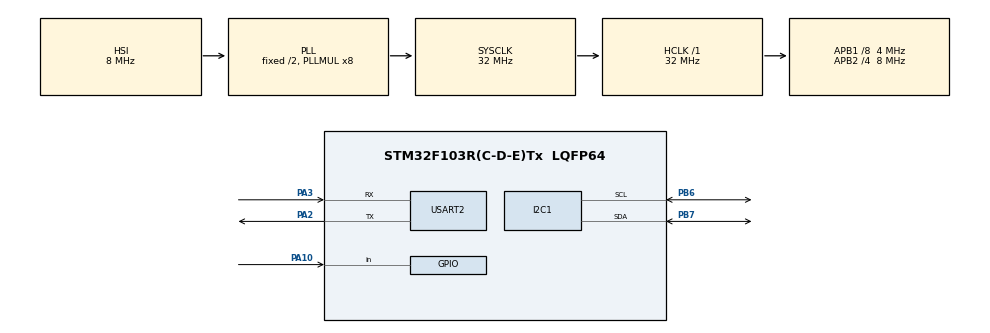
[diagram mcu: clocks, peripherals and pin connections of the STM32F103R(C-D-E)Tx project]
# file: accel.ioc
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Dma.Request0=USART2_TX
Dma.USART2_TX.0.Direction=DMA_MEMORY_TO_PERIPH
Dma.USART2_TX.0.Instance=DMA1_Channel7
Dma.USART2_TX.0.MemDataAlignment=DMA_MDATAALIGN_BYTE
Dma.USART2_TX.0.MemInc=DMA_MINC_ENABLE
Dma.USART2_TX.0.Mode=DMA_NORMAL
Dma.USART2_TX.0.PeriphDataAlignment=DMA_PDATAALIGN_BYTE
Dma.USART2_TX.0.PeriphInc=DMA_PINC_DISABLE
Dma.USART2_TX.0.Priority=DMA_PRIORITY_LOW
Mcu.Family=STM32F1
Mcu.Name=STM32F103R(C-D-E)Tx
Mcu.Package=LQFP64
NVIC.DMA1_Channel7_IRQn=true\:0\:0\:false\:false\:true
NVIC.I2C1_ER_IRQn=true\:0\:0\:false\:false\:true
NVIC.I2C1_EV_IRQn=true\:0\:0\:false\:false\:true
NVIC.PriorityGroup=NVIC_PRIORITYGROUP_4
NVIC.TIM1_UP_IRQn=true\:0\:0\:false\:false\:true
NVIC.USART2_IRQn=true\:0\:0\:false\:false\:true
PA10.Signal=GPIO_Input
PA13.Mode=Trace_Asynchronous_SW
PA13.Signal=SYS_JTMS-SWDIO
PA14.Mode=Trace_Asynchronous_SW
PA14.Signal=SYS_JTCK-SWCLK
PA2.Mode=Asynchronous
PA2.Signal=USART2_TX
PA3.Mode=Asynchronous
PA3.Signal=USART2_RX
PB3.Mode=Trace_Asynchronous_SW
PB3.Signal=SYS_JTDO-TRACESWO
PB6.Mode=I2C
PB6.Signal=I2C1_SCL
PB7.Mode=I2C
PB7.Signal=I2C1_SDA
ProjectManager.HeapSize=0x200
ProjectManager.StackSize=0x400
ProjectManager.TargetToolchain=MDK-ARM V5
RCC.AHBFreq_Value=32000000
RCC.APB1CLKDivider=RCC_HCLK_DIV8
RCC.APB1Freq_Value=4000000
RCC.APB1TimFreq_Value=8000000
RCC.APB2CLKDivider=RCC_HCLK_DIV4
RCC.APB2Freq_Value=8000000
RCC.APB2TimFreq_Value=16000000
RCC.HCLKFreq_Value=32000000
RCC.PLLMUL=RCC_PLL_MUL8
RCC.SYSCLKFreq_VALUE=32000000
RCC.SYSCLKSource=RCC_SYSCLKSOURCE_PLLCLK
RCC.USBFreq_Value=32000000
TIM1.Period=4000
TIM1.Prescaler=100
USART2.VirtualMode=VM_ASYNC
VP_TIM1_VS_ClockSourceINT.Mode=Internal
board=accel

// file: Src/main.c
/**
  ******************************************************************************
  * File Name          : main.c
  * Description        : Main program body
  ******************************************************************************
  ** This notice applies to any and all portions of this file
  * that are not between comment pairs USER CODE BEGIN and
  * USER CODE END. Other portions of this file, whether
  * inserted by the user or by software development tools
  * are owned by their respective copyright owners.
  *
  * COPYRIGHT(c) 2019 STMicroelectronics
  *
  * Redistribution and use in source and binary forms, with or without modification,
  * are permitted provided that the following conditions are met:
  *   1. Redistributions of source code must retain the above copyright notice,
  *      this list of conditions and the following disclaimer.
  *   2. Redistributions in binary form must reproduce the above copyright notice,
  *      this list of conditions and the following disclaimer in the documentation
  *      and/or other materials provided with the distribution.
  *   3. Neither the name of STMicroelectronics nor the names of its contributors
  *      may be used to endorse or promote products derived from this software
  *      without specific prior written permission.
  *
  * THIS SOFTWARE IS PROVIDED BY THE COPYRIGHT HOLDERS AND CONTRIBUTORS "AS IS"
  * AND ANY EXPRESS OR IMPLIED WARRANTIES, INCLUDING, BUT NOT LIMITED TO, THE
  * IMPLIED WARRANTIES OF MERCHANTABILITY AND FITNESS FOR A PARTICULAR PURPOSE ARE
  * DISCLAIMED. IN NO EVENT SHALL THE COPYRIGHT HOLDER OR CONTRIBUTORS BE LIABLE
  * FOR ANY DIRECT, INDIRECT, INCIDENTAL, SPECIAL, EXEMPLARY, OR CONSEQUENTIAL
  * DAMAGES (INCLUDING, BUT NOT LIMITED TO, PROCUREMENT OF SUBSTITUTE GOODS OR
  * SERVICES; LOSS OF USE, DATA, OR PROFITS; OR BUSINESS INTERRUPTION) HOWEVER
  * CAUSED AND ON ANY THEORY OF LIABILITY, WHETHER IN CONTRACT, STRICT LIABILITY,
  * OR TORT (INCLUDING NEGLIGENCE OR OTHERWISE) ARISING IN ANY WAY OUT OF THE USE
  * OF THIS SOFTWARE, EVEN IF ADVISED OF THE POSSIBILITY OF SUCH DAMAGE.
  *
  ******************************************************************************
  */
#include "main.h"
#include "stm32f1xx_hal.h"
#include "dma.h"
#include "i2c.h"
#include "tim.h"
#include "usart.h"
#include "gpio.h"

/* USER CODE BEGIN Includes */
#include <stdio.h>
#include <math.h>
#include <string.h>
#include "mediana.h"
/* USER CODE END Includes */

/* USER CODE BEGIN PV */
/* Private variables ---------------------------------------------------------*/
uint8_t buf[60];
uint8_t flag_elapsed=0;
#pragma pack(1)
struct Axis {
    uint8_t  state; //int source 0x30
    uint8_t  format;
    int16_t x;
    int16_t y;
    int16_t z;
};

/* USER CODE END PV */

void SystemClock_Config(void);

/* USER CODE BEGIN PFP */
/* Private function prototypes -----------------------------------------------*/

/* USER CODE END PFP */

/* USER CODE BEGIN 0 */
#define ITM_Port8(n)    (*((volatile unsigned char *)(0xE0000000+4*n)))
#define ITM_Port16(n)   (*((volatile unsigned short*)(0xE0000000+4*n)))
#define ITM_Port32(n)   (*((volatile unsigned long *)(0xE0000000+4*n)))

#define DEMCR           (*((volatile unsigned long *)(0xE000EDFC)))
#define TRCENA          0x01000000

struct __FILE { int handle; /* Add whatever you need here */ };
FILE __stdout;
FILE __stdin;

int fputc(int ch, FILE *f) {
  if (DEMCR & TRCENA) {
    while (ITM_Port32(0) == 0);
    ITM_Port8(0) = ch;
  }
  return(ch);
}

/* USER CODE END 0 */

int main(void)
{

  /* USER CODE BEGIN 1 */

  struct Axis axis;
  HAL_StatusTypeDef result;
  double angle;
  char text[80]="test string from usart";
  int16_t data_filtered;
  float FK=0.07;
  int16_t data_kalman_x,data_kalman_y,data_kalman_z;

  /* USER CODE END 1 */

  /* MCU Configuration----------------------------------------------------------*/

  /* Reset of all peripherals, Initializes the Flash interface and the Systick. */
  HAL_Init();

  /* Configure the system clock */
  SystemClock_Config();

  /* Initialize all configured peripherals */
  MX_GPIO_Init();
  MX_DMA_Init();
  MX_I2C1_Init();
  MX_TIM1_Init();
  MX_USART2_UART_Init();

  /* USER CODE BEGIN 2 */
    printf("Hello from stm32 printf!\r\n");
    HAL_UART_Transmit_DMA(&huart2,(uint8_t*) &text, strlen(text));

  /* USER CODE END 2 */

  /* Infinite loop */
  /* USER CODE BEGIN WHILE */
   buf[0]= ADXL313_BW_200;
   buf[1]=0x08; //set up bit MEASURE MODE
   result= HAL_I2C_Mem_Write(&hi2c1,0xA7,0x2c,I2C_MEMADD_SIZE_8BIT,buf,2,10000);

  buf[0]=0x09;      //set up 1g range   and full res
  result= HAL_I2C_Mem_Write(&hi2c1,0xA7,0x31,I2C_MEMADD_SIZE_8BIT,buf,1,10000);

  buf[0]=0x02; //activity threshhold 24
  buf[1]=0x20; //inactivity thresh     25
  buf[2]=0x5; //inativity time;  26
  buf[3]=0xf0; //ac coupled operation om all axes      27
  result= HAL_I2C_Mem_Write(&hi2c1,0xA7,0x24,I2C_MEMADD_SIZE_8BIT,buf,4,10000);

  buf[0]=0x18;
  result= HAL_I2C_Mem_Write(&hi2c1,0xA7,0x2e,I2C_MEMADD_SIZE_8BIT,buf,1,10000);

  result= HAL_I2C_Mem_Read(&hi2c1, 0xA6,(uint16_t)0x00,I2C_MEMADD_SIZE_8BIT, buf, 57,10);
  //  HAL_StatusTypeDef result=HAL_I2C_Master_Transmit(&hi2c1,0xA6,0x00,10,10000);
   printf("result %d \r \n ",result);
   for (int i=0; i<58;i++)   {
   printf("Register %02x = %02x \r\n",i,buf[i]);
   }

       result= HAL_I2C_Mem_Read(&hi2c1, 0xA6,(uint16_t)0x30,I2C_MEMADD_SIZE_8BIT, buf, 6,1000);
      flag_elapsed=0;
      printf("x:%d, y:%d, z:%d \r\n",axis.x,axis.y,axis.z);
      sprintf((char *)&text,"$ %d %d %d;",axis.x,axis.y,axis.z);
      HAL_UART_Transmit_DMA(&huart2,(uint8_t*)&text,strlen(text));
     HAL_TIM_Base_Start_IT(&htim1);
  while (1)
  {
  /* USER CODE END WHILE */

  /* USER CODE BEGIN 3 */
  if (flag_elapsed==1) {
    //  HAL_Delay(1);
      result= HAL_I2C_Mem_Read(&hi2c1, 0xA6,(uint16_t)0x30,I2C_MEMADD_SIZE_8BIT, (uint8_t*)&axis, 8,1);
      flag_elapsed=0;
      angle= atan(axis.x/(sqrt(pow(axis.y,2)+pow(axis.z,2)) ) )*57,296;
      printf("0x30:%02x,       x:%d, y:%d, z:%d,  angle X=%.02f  \r\n", (axis.state&0x18), axis.x,axis.y,axis.z,angle);
     // sprintf((char *)&text,"$%d %d %d;",axis.x,axis.y,axis.z);
      data_filtered=median_filter(axis.x);
      data_kalman_x=(1-FK)*data_kalman_x+FK*axis.x;
      data_kalman_y=(1-FK)*data_kalman_y+FK*axis.y;
      data_kalman_z=(1-FK)*data_kalman_z+FK*axis.z;

     // sprintf((char *)&text,"$%d %d %d;",axis.x,data_filtered,data_kalman);
      sprintf((char *)&text,"$%d %d %d;",data_kalman_x,data_kalman_y,data_kalman_z);
      HAL_UART_Transmit_DMA(&huart2,(uint8_t*)&text,strlen(text));
  }

  }
  /* USER CODE END 3 */

}

/** System Clock Configuration
*/
void SystemClock_Config(void)
{

  RCC_OscInitTypeDef RCC_OscInitStruct;
  RCC_ClkInitTypeDef RCC_ClkInitStruct;

    /**Initializes the CPU, AHB and APB busses clocks
    */
  RCC_OscInitStruct.OscillatorType = RCC_OSCILLATORTYPE_HSI;
  RCC_OscInitStruct.HSIState = RCC_HSI_ON;
  RCC_OscInitStruct.HSICalibrationValue = 16;
  RCC_OscInitStruct.PLL.PLLState = RCC_PLL_ON;
  RCC_OscInitStruct.PLL.PLLSource = RCC_PLLSOURCE_HSI_DIV2;
  RCC_OscInitStruct.PLL.PLLMUL = RCC_PLL_MUL8;
  if (HAL_RCC_OscConfig(&RCC_OscInitStruct) != HAL_OK)
  {
    _Error_Handler(__FILE__, __LINE__);
  }

    /**Initializes the CPU, AHB and APB busses clocks
    */
  RCC_ClkInitStruct.ClockType = RCC_CLOCKTYPE_HCLK|RCC_CLOCKTYPE_SYSCLK
                              |RCC_CLOCKTYPE_PCLK1|RCC_CLOCKTYPE_PCLK2;
  RCC_ClkInitStruct.SYSCLKSource = RCC_SYSCLKSOURCE_PLLCLK;
  RCC_ClkInitStruct.AHBCLKDivider = RCC_SYSCLK_DIV1;
  RCC_ClkInitStruct.APB1CLKDivider = RCC_HCLK_DIV8;
  RCC_ClkInitStruct.APB2CLKDivider = RCC_HCLK_DIV4;

  if (HAL_RCC_ClockConfig(&RCC_ClkInitStruct, FLASH_LATENCY_1) != HAL_OK)
  {
    _Error_Handler(__FILE__, __LINE__);
  }

    /**Configure the Systick interrupt time
    */
  HAL_SYSTICK_Config(HAL_RCC_GetHCLKFreq()/1000);

    /**Configure the Systick
    */
  HAL_SYSTICK_CLKSourceConfig(SYSTICK_CLKSOURCE_HCLK);

  /* SysTick_IRQn interrupt configuration */
  HAL_NVIC_SetPriority(SysTick_IRQn, 0, 0);
}

void _Error_Handler(char * file, int line)
{
  while(1)
  {
  }
}

/************************ (C) COPYRIGHT STMicroelectronics *****END OF FILE****/
